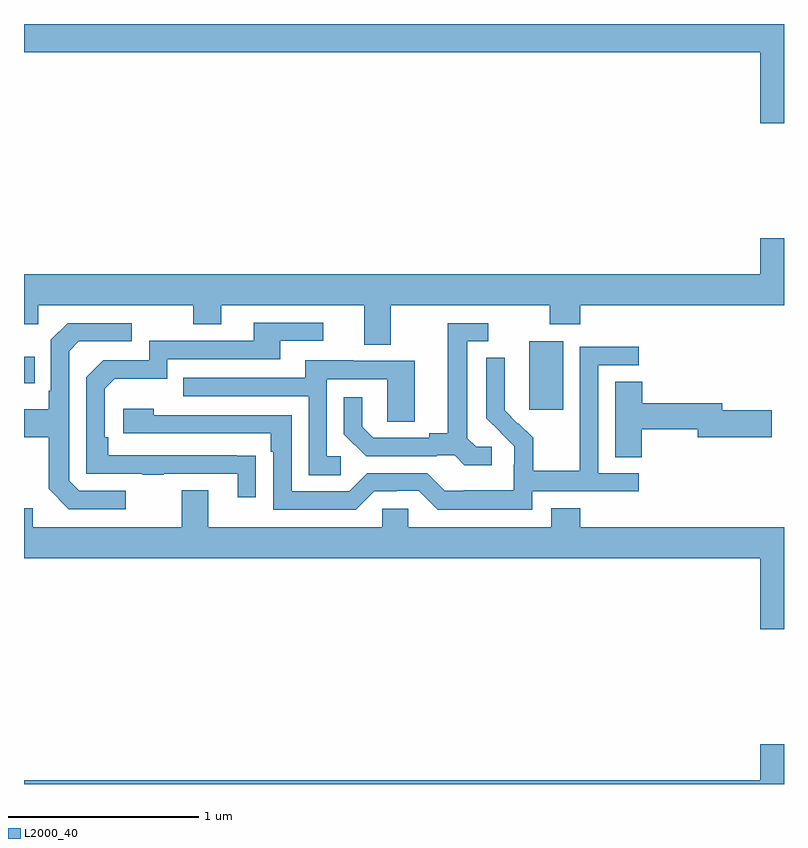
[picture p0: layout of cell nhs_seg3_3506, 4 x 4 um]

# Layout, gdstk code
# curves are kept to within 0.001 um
import gdstk
lib = gdstk.Library(unit=1e-6, precision=1e-09)
def R(c, l, rs):  # rectangles x0, y0, x1, y1
    for r in rs: c.add(gdstk.rectangle(r[:2], r[2:], *l))
def P(c, l, *ps):  # polygons
    for p in ps: c.add(gdstk.Polygon(p, *l))
L2000_40 = (2000, 40)

nhs_seg3_3506 = lib.new_cell('nhs_seg3_3506')
R(nhs_seg3_3506, L2000_40, [(295.658,696.369,295.837,696.73), (293,696.509,293.057,696.649)])
P(nhs_seg3_3506, L2000_40, [(297,698.4),(293,698.4),(293,698.252),(296.876,698.252),(296.876,697.878),(297,697.878)],
  [(294.931,696.92),(295.768,696.92),(295.768,696.821),(295.928,696.821),(295.928,696.92),(297,696.92),(297,697.273),(296.876,697.273),(296.876,697.084),(293,697.084),(293,696.821),(293.076,696.821),(293.076,696.92),(293.89,696.92),(293.89,696.821),(294.037,696.821),(294.037,696.92),(294.791,696.92),(294.791,696.712),(294.931,696.712)],
  [(294.221,696.128),(293.444,696.129),(293.444,696.226),(293.424,696.226),(293.424,696.48),(293.477,696.533),(293.754,696.533),(293.754,696.636),(294.349,696.636),(294.349,696.732),(294.574,696.732),(294.574,696.828),(294.209,696.828),(294.209,696.732),(293.658,696.732),(293.658,696.63),(293.418,696.63),(293.328,696.54),(293.328,696.033),(293.623,696.033),(293.623,696.028),(293.735,696.028),(293.735,696.033),(294.125,696.033),(294.125,695.91),(294.221,695.91)],
  [(293.536,695.943),(293.292,695.943),(293.238,695.997),(293.238,696.678),(293.289,696.729),(293.566,696.729),(293.566,696.825),(293.229,696.825),(293.142,696.738),(293.142,696.469),(293.13,696.469),(293.13,696.373),(293,696.373),(293,696.226),(293.13,696.226),(293.13,695.953),(293.235,695.847),(293.536,695.847)],
  [(295.462,696.174),(295.38,696.174),(295.333,696.221),(295.333,696.729),(295.444,696.729),(295.444,696.825),(295.229,696.825),(295.229,696.245),(295.133,696.245),(295.133,696.222),(294.838,696.222),(294.781,696.279),(294.781,696.436),(294.684,696.436),(294.684,696.242),(294.8,696.126),(295.172,696.126),(295.172,696.129),(295.266,696.129),(295.318,696.077),(295.462,696.077)],
  [(295.674,695.94),(296.236,695.94),(296.236,696.036),(296.022,696.036),(296.022,696.603),(296.236,696.603),(296.236,696.702),(295.926,696.702),(295.926,696.272),(295.924,696.272),(295.924,696.049),(295.679,696.049),(295.679,696.223),(295.602,696.3),(295.599,696.297),(295.529,696.368),(295.53,696.644),(295.434,696.644),(295.434,696.326),(295.58,696.178),(295.58,696.081),(295.578,696.081),(295.578,695.947),(295.315,695.947),(295.315,695.943),(295.215,695.943),(295.122,696.036),(294.807,696.036),(294.711,695.94),(294.408,695.94),(294.408,696.342),(293.684,696.342),(293.684,696.376),(293.523,696.376),(293.523,696.246),(294.299,696.246),(294.299,696.149),(294.312,696.149),(294.312,695.844),(294.747,695.844),(294.843,695.94),(294.962,695.94),(294.962,695.943),(295.077,695.943),(295.177,695.843),(295.674,695.843)],
  [(294.667,696.126),(294.594,696.126),(294.594,696.531),(294.912,696.531),(294.912,696.307),(295.057,696.307),(295.057,696.627),(294.733,696.627),(294.733,696.631),(294.479,696.631),(294.479,696.537),(293.839,696.537),(293.839,696.441),(294.498,696.441),(294.498,696.025),(294.667,696.025)],
  [(296.25,696.268),(296.546,696.268),(296.546,696.226),(296.935,696.226),(296.935,696.368),(296.674,696.368),(296.674,696.404),(296.255,696.404),(296.255,696.518),(296.111,696.518),(296.111,696.121),(296.25,696.121)],
  [(297,695.752),(295.928,695.752),(295.928,695.851),(295.775,695.851),(295.775,695.752),(295.023,695.752),(295.023,695.85),(294.885,695.85),(294.885,695.752),(293.971,695.752),(293.971,695.947),(293.831,695.947),(293.831,695.752),(293.047,695.752),(293.047,695.851),(293,695.851),(293,695.588),(296.876,695.588),(296.876,695.214),(297,695.214)],
  [(297,694.609),(296.876,694.609),(296.876,694.42),(293,694.42),(293,694.4),(297,694.4)])

lib.write_gds('nhs_seg3_3506.gds')
